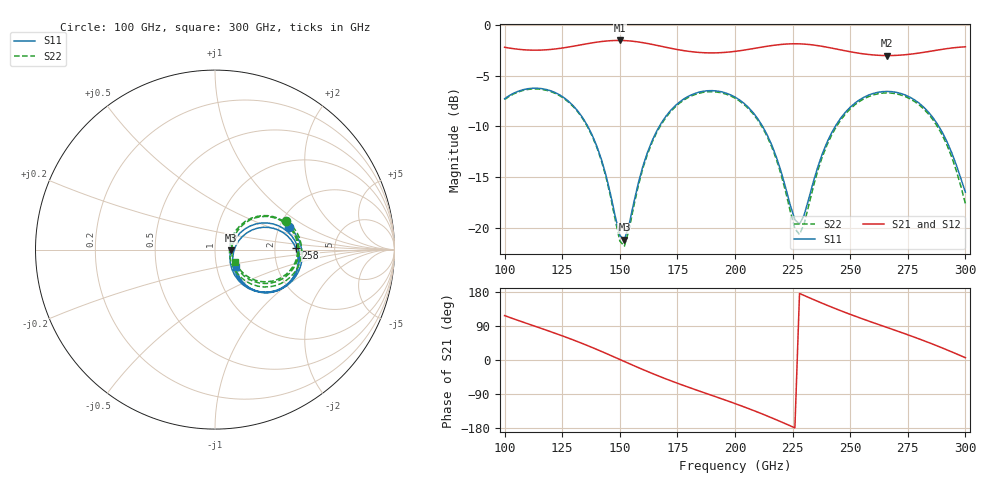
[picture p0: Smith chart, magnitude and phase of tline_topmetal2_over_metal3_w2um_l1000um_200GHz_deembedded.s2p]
! Created with skrf 2.0.1 (http://scikit-rf.org).
# GHz S DB R 50.0
!freq dBS11 angS11 dBS21 angS21 dBS12 angS12 dBS22 angS22
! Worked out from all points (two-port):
!   101 points, 100 GHz to 300 GHz, reference 50 ohm
!   highest |S21| = -1.54 dB at 150 GHz (marker M1); lowest = -3.0 dB at 266 GHz (marker M2)
!   |S21| within 3 dB of the highest: start of sweep to end of sweep
!   lowest |S11| = -21.2 dB at 152 GHz (marker M3), VSWR 1.19, Z = 59.6 - j0.341 ohm
!   |S11| at or under -10 dB: 136.1 GHz to 167.2 GHz (31.1 GHz wide, 20.5 % of centre); 212 GHz to 243.6 GHz (31.58 GHz wide, 13.9 % of centre); 288.4 GHz to end of sweep
!   |S22| runs from -21.8 to -6.3 dB; largest |S21 - S12| = 9.2e-14
!   S11 on the Smith chart (normalised r, x): 100 GHz: 2.26, +0.70; 258 GHz: 2.64, +0.05; 300 GHz: 1.24, -0.24
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100  -7.29 17.0  -2.22 117.1  -2.22 117.1  -7.36 21.9
116  -6.29 -11.6  -2.49 83.2  -2.49 83.2  -6.36 -6.1
126  -7.22 -29.5  -2.26 61.6  -2.26 61.6  -7.30 -23.6
134  -9.20 -43.3  -1.94 42.9  -1.94 42.9  -9.28 -37.3
142  -13.25 -52.7  -1.65 22.7  -1.65 22.7  -13.38 -46.9
150  -20.75 -25.3  -1.54 1.4  -1.54 1.4  -21.30 -19.4
152  -21.17 -1.9  -1.56 -4.0  -1.56 -4.0  -21.81 5.8
160  -13.95 34.6  -1.76 -25.1  -1.76 -25.1  -14.15 43.8
168  -9.68 26.9  -2.12 -45.1  -2.12 -45.1  -9.81 35.8
184  -6.66 0.1  -2.72 -80.8  -2.72 -80.8  -6.76 9.3
200  -7.12 -27.1  -2.62 -115.0  -2.62 -115.0  -7.23 -17.8
214  -10.86 -48.2  -2.11 -147.8  -2.11 -147.8  -11.02 -39.3
222  -16.06 -46.6  -1.90 -168.4  -1.90 -168.4  -16.47 -38.8
228  -19.64 -7.8  -1.88 175.6  -1.88 175.6  -20.66 3.0
234  -15.47 25.5  -1.99 159.7  -1.99 159.7  -15.94 39.4
244  -9.82 22.5  -2.39 134.5  -2.39 134.5  -10.03 35.6
258  -6.92 1.0  -2.93 102.8  -2.93 102.8  -7.07 13.6
266  -6.57 -12.1  -3.03 85.8  -3.03 85.8  -6.71 0.4
268  -6.59 -15.3  -3.03 81.6  -3.03 81.6  -6.73 -2.9
286  -9.17 -43.1  -2.56 41.4  -2.56 41.4  -9.38 -31.9
294  -12.56 -49.4  -2.29 21.6  -2.29 21.6  -12.98 -39.9
300  -16.49 -39.1  -2.17 6.0  -2.17 6.0  -17.60 -30.9
